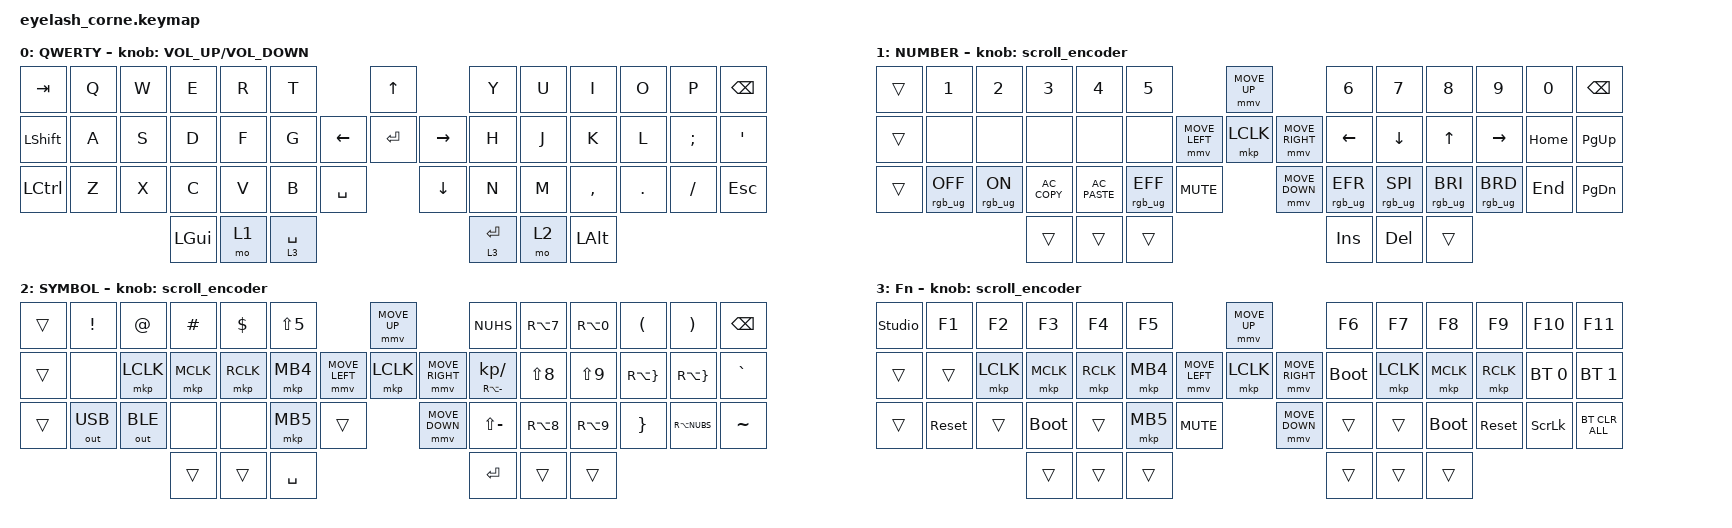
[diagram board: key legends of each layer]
#define ZMK_POINTING_DEFAULT_MOVE_VAL 1200  // 600
#define ZMK_POINTING_DEFAULT_SCRL_VAL 25   // 10

#include <input/processors.dtsi>
#include <zephyr/dt-bindings/input/input-event-codes.h>
#include <behaviors.dtsi>
#include <dt-bindings/zmk/bt.h>
#include <dt-bindings/zmk/keys.h>
#include <dt-bindings/zmk/outputs.h>
#include <dt-bindings/zmk/pointing.h>
#include <dt-bindings/zmk/rgb.h>

&mmv_input_listener { input-processors = <&zip_xy_scaler 2 1>; };

&msc_input_listener { input-processors = <&zip_scroll_scaler 2 1>; };

&msc {
    acceleration-exponent = <1>;      // 0
    time-to-max-speed-ms = <100>;       // 300
    delay-ms = <0>;                   // 0
};

&mmv {
    time-to-max-speed-ms = <500>;
    acceleration-exponent = <1>;
    trigger-period-ms = <16>;
};

/ {
    behaviors {
        td0: td0 {
            compatible = "zmk,behavior-tap-dance";
            display-name = "Shift/Caps Lock Tap Dance";
            #binding-cells = <0>;
            bindings = <&kp LS(RIGHT_BRACE)>, <&kp RA(RIGHT_BRACKET)>;
        };

        new_behavior: new_behavior {
            compatible = "zmk,behavior-hold-tap";
            label = "NEW_BEHAVIOR";
            bindings = <&kp>, <&kp>;

            #binding-cells = <2>;
            tapping-term-ms = <200>;
            hold-trigger-key-positions = <26>;
            flavor = "hold-preferred";
        };

        slash: slash {
            compatible = "zmk,behavior-hold-tap";
            label = "SLASH";
            bindings = <&kp>, <&kp>;

            #binding-cells = <2>;
            flavor = "tap-preferred";
            tapping-term-ms = <200>;
        };
    };

    rgb_encoder: rgb_encoder {
        compatible = "zmk,behavior-sensor-rotate";
        #sensor-binding-cells = <0>;
        bindings = <&rgb_ug RGB_BRI>, <&rgb_ug RGB_BRD>;
    };

    scroll_encoder: scroll_encoder {
        compatible = "zmk,behavior-sensor-rotate";
        #sensor-binding-cells = <0>;
        bindings = <&msc SCRL_DOWN>, <&msc SCRL_UP>;

        tap-ms = <100>;
    };

    combos {
        compatible = "zmk,combos";

        colon {
            bindings = <&kp LS(DOT)>;
            key-positions = <23 24>;
        };

        esc {
            bindings = <&kp ESCAPE>;
            key-positions = <1 2>;
        };

        sd_esc {
            bindings = <&kp ESCAPE>;
            key-positions = <15 16>;
        };

        screenshot {
            bindings = <&kp PRINTSCREEN>;
            key-positions = <26 27>;
        };

        l {
            bindings = <&kp RA(NON_US_BSLH)>;
            key-positions = <8 23>;
            layers = <2>;
        };

        ji {
            bindings = <&kp NUBS>;
            key-positions = <23 9>;
            layers = <2>;
        };

        uk {
            bindings = <&kp LS(NUBS)>;
            key-positions = <8 24>;
            layers = <2>;
        };

        zj {
            bindings = <&kp LS(EQUAL)>;
            key-positions = <7 23>;
            layers = <2>;
        };

        at {
            bindings = <&kp RA(Q)>;
            key-positions = <14 5>;
        };

        plus {
            bindings = <&kp RIGHT_BRACKET>;
            key-positions = <25 11>;
            layers = <2>;
        };

        und {
            bindings = <&kp LS(KP_NUMBER_6)>;
            key-positions = <22 24>;
        };

        minus {
            bindings = <&kp SLASH>;
            key-positions = <22 23>;
            layers = <0>;
        };

        underscore {
            bindings = <&kp LS(SLASH)>;
            key-positions = <36 37>;
            layers = <0>;
        };

        sq {
            bindings = <&kp LS(NUHS)>;
            key-positions = <9 24>;
            layers = <2>;
        };

        backslash {
            bindings = <&kp RA(MINUS)>;
            key-positions = <8 24 39>;
            layers = <2>;
        };

        pl {
            bindings = <&kp RBRC>;
            key-positions = <11 25>;
        };

        ue {
            bindings = <&kp LEFT_BRACKET>;
            key-positions = <8 3>;
        };

        sz {
            bindings = <&kp MINUS>;
            key-positions = <15 7>;
        };
    };

    keymap {
        compatible = "zmk,keymap";

        default_layer {
            display-name = "QWERTY";
            bindings = <
&kp TAB         &kp Q  &kp W  &kp E     &kp R  &kp T                               &kp UP                &kp Y        &kp U  &kp I         &kp O    &kp P     &kp BSPC
&kp LEFT_SHIFT  &kp A  &kp S  &kp D     &kp F  &kp G                     &kp LEFT  &kp ENTER  &kp RIGHT  &kp H        &kp J  &kp K         &kp L    &kp SEMI  &kp SQT
&kp LCTRL       &kp Z  &kp X  &kp C     &kp V  &kp B        &kp SPACE              &kp DOWN              &kp N        &kp M  &kp COMMA     &kp DOT  &kp FSLH  &kp ESC
                              &kp LGUI  &mo 1  &lt 3 SPACE                                               &lt 3 ENTER  &mo 2  &kp LEFT_ALT
            >;

            sensor-bindings = <&inc_dec_kp C_VOLUME_UP C_VOLUME_DOWN>;
        };

        lower_layer {
            display-name = "NUMBER";
            bindings = <
&trans  &kp N1           &kp N2          &kp N3         &kp N4          &kp N5                                         &mmv MOVE_UP                     &kp N6           &kp N7           &kp N8           &kp N9           &kp N0    &kp BSPC
&trans  &none            &none           &none          &none           &none                          &mmv MOVE_LEFT  &mkp LCLK       &mmv MOVE_RIGHT  &kp LEFT         &kp DOWN         &kp UP           &kp RIGHT        &kp HOME  &kp PG_UP
&trans  &rgb_ug RGB_OFF  &rgb_ug RGB_ON  &kp C_AC_COPY  &kp C_AC_PASTE  &rgb_ug RGB_EFF  &kp C_MUTE                    &mmv MOVE_DOWN                   &rgb_ug RGB_EFR  &rgb_ug RGB_SPI  &rgb_ug RGB_BRI  &rgb_ug RGB_BRD  &kp END   &kp PG_DN
                                         &trans         &trans          &trans                                                                          &kp INS          &kp DEL          &trans
            >;

            sensor-bindings = <&scroll_encoder>;
        };

        raise_layer {
            display-name = "SYMBOL";
            bindings = <
&trans  &kp EXCL      &kp AT        &kp HASH   &kp DLLR   &kp LS(N5)                            &mmv MOVE_UP                     &kp NUHS                    &kp RA(N7)  &kp RA(N0)  &kp LPAR      &kp RPAR      &kp BSPC
&trans  &none         &mkp LCLK     &mkp MCLK  &mkp RCLK  &mkp MB4              &mmv MOVE_LEFT  &mkp LCLK       &mmv MOVE_RIGHT  &slash RA(MINUS) KP_DIVIDE  &kp LS(N8)  &kp LS(N9)  &kp RA(RBRC)  &kp RA(RBRC)  &kp GRAVE
&trans  &out OUT_USB  &out OUT_BLE  &none      &none      &mkp MB5    &trans                    &mmv MOVE_DOWN                   &kp LS(MINUS)               &kp RA(N8)  &kp RA(N9)  &kp RBRC      &kp RA(NUBS)  &kp TILDE
                                    &trans     &trans     &kp SPACE                                                              &kp RET                     &trans      &trans
            >;

            sensor-bindings = <&scroll_encoder>;
        };

        layer_3 {
            display-name = "Fn";
            bindings = <
&studio_unlock  &kp F1      &kp F2     &kp F3       &kp F4     &kp F5                                  &mmv MOVE_UP                     &kp F6       &kp F7     &kp F8       &kp F9      &kp F10         &kp F11
&trans          &trans      &mkp LCLK  &mkp MCLK    &mkp RCLK  &mkp MB4                &mmv MOVE_LEFT  &mkp LCLK       &mmv MOVE_RIGHT  &bootloader  &mkp LCLK  &mkp MCLK    &mkp RCLK   &bt BT_SEL 0    &bt BT_SEL 1
&trans          &sys_reset  &trans     &bootloader  &trans     &mkp MB5  &kp C_MUTE                    &mmv MOVE_DOWN                   &trans       &trans     &bootloader  &sys_reset  &kp SCROLLLOCK  &bt BT_CLR_ALL
                                       &trans       &trans     &trans                                                                   &trans       &trans     &trans
            >;

            sensor-bindings = <&scroll_encoder>;
        };
    };
};
